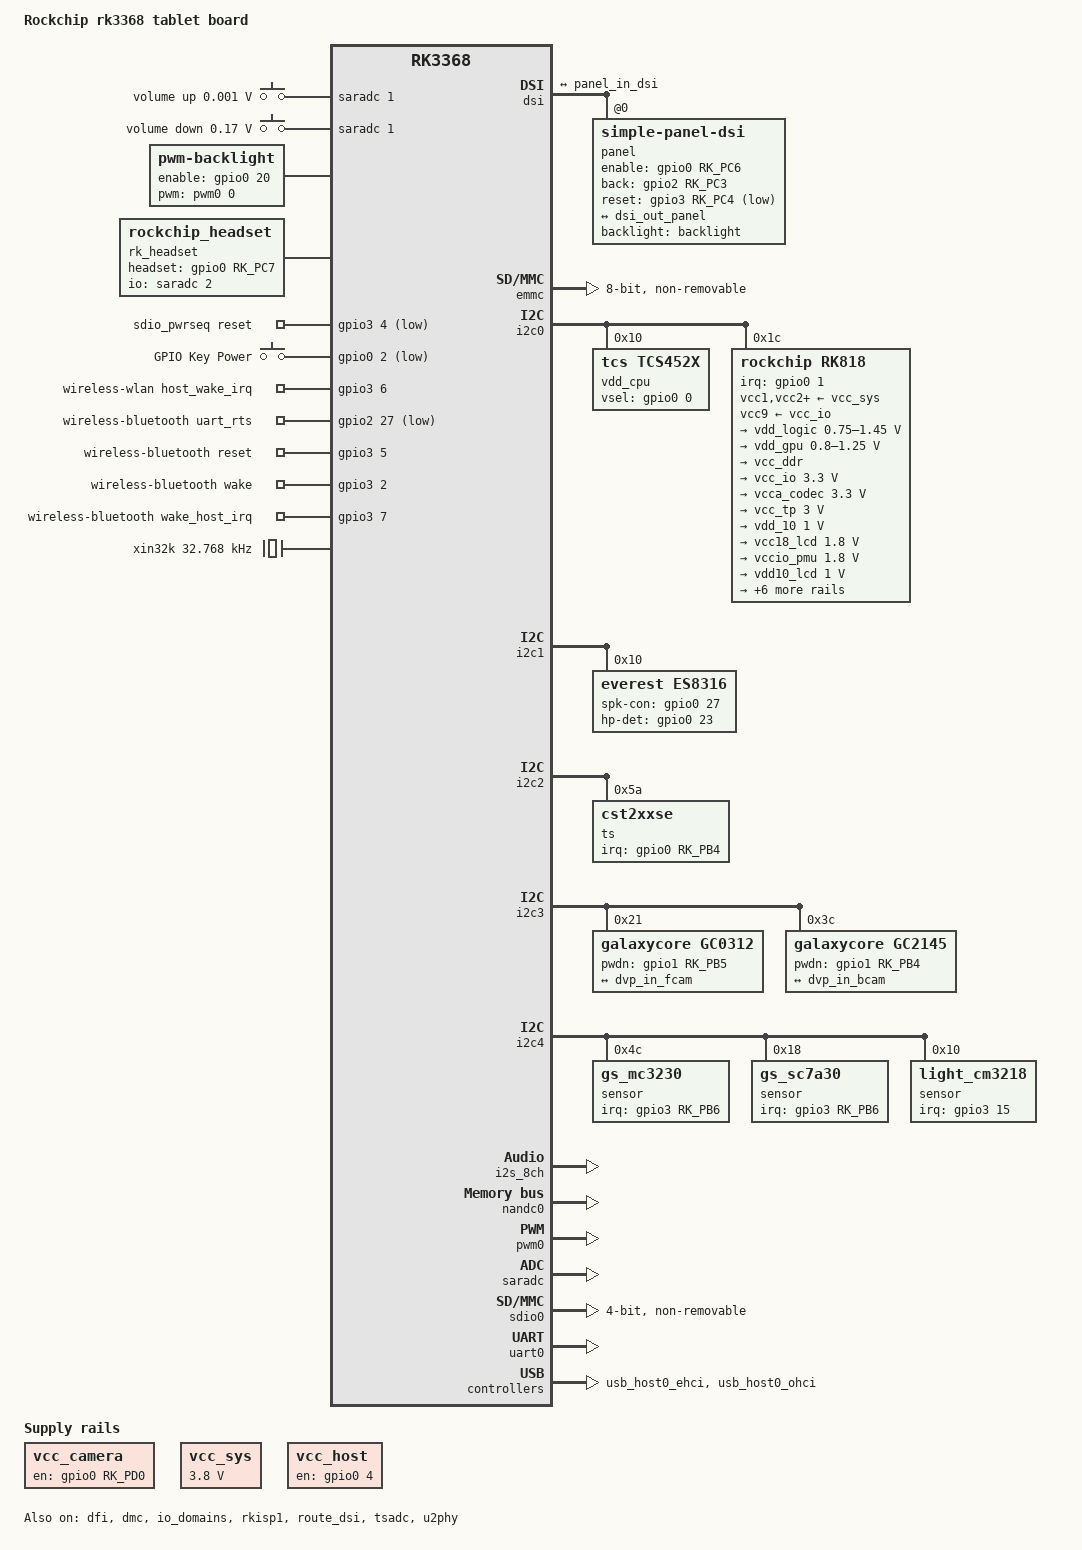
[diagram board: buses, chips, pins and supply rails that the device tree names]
// SPDX-License-Identifier: (GPL-2.0+ OR MIT)
/*
 * Copyright (c) 2019 Fuzhou Rockchip Electronics Co., Ltd
 */

/dts-v1/;
#include <dt-bindings/input/input.h>
#include <dt-bindings/pwm/pwm.h>
#include <dt-bindings/sensor-dev.h>
#include "rk3368.dtsi"
#include "rk3368-android.dtsi"
/ {
	model = "Rockchip rk3368 tablet board";
	compatible = "rockchip,tablet", "rockchip,rk3368";

	adc_keys: adc-keys {
		compatible = "adc-keys";
		io-channels = <&saradc 1>;
		io-channel-names = "buttons";
		keyup-threshold-microvolt = <1024000>;
		poll-interval = <100>;

		vol-up-key {
			label = "volume up";
			linux,code = <KEY_VOLUMEUP>;
			press-threshold-microvolt = <1000>;
		};

		vol-down-key {
			label = "volume down";
			linux,code = <KEY_VOLUMEDOWN>;
			press-threshold-microvolt = <170000>;
		};
	};

	vcc_camera: vcc-camera-regulator {
		compatible = "regulator-fixed";
		gpio = <&gpio0 RK_PD0 GPIO_ACTIVE_HIGH>;
		pinctrl-names = "default";
		pinctrl-0 = <&camera_pwr>;
		regulator-name = "vcc_camera";
		enable-active-high;
		regulator-always-on;
		regulator-boot-on;
	};

	backlight: backlight {
		compatible = "pwm-backlight";
		pwms = <&pwm0 0 25000 1>;
		brightness-levels = <
			 0   1   2   3   4   5   6   7
			 8   9  10  11  12  13  14  15
			16  16  16  16  16  16  16  16
			17  17  17  17  17  17  17  17
			18  18  18  18  18  18  18  18
			19  19  19  19  19  19  19  19
			20  20  20  20  20  20  20  20
			21  21  21  21  21  21  21  21
			22  22  22  22  22  22  22  22
			23  23  23  23	23  23  23  23
			24  24  24  24  24  24  24  24
			25  25  25  25  25  25  25  25
			26  26  26  26  26  26  26  26
			27  27  27  27  27  27  27  27
			28  28  28  28  28  28  28  28
			27  27  27  27  27  27  27  27
			30  30  30  30  30  30  30  30
			31  31  31  31  31  31  31  31
			32  32  32  32  32  32  32  32
			33  33  33  33  33  33  33  33
			34  34  34  34  34  34  34  34
			35  35  35  35  35  35  35  35
			36  36  36  36  36  36  36  36
			37  37  37  37  37  37  37  37
			38  38  38  38  38  38  38  38
			38  38  38  38  38  38  38  38
			38  38  38  38  38  38  38  38
			38  38  38  38  38  38  38  38
			38  38  38  38  38  38  38  38
			38  38  38  38  38  38  38  38
			38  38  38  38  38  38  38  38
			38  38  38  38  38  38  38  38>;
		default-brightness-level = <200>;
		enable-gpios = <&gpio0 20 GPIO_ACTIVE_HIGH>;
	};

	charge-animation {
		compatible = "rockchip,uboot-charge";
		rockchip,uboot-charge-on = <1>;
		rockchip,android-charge-on = <0>;
		rockchip,uboot-low-power-voltage = <3500>;
		rockchip,screen-on-voltage = <3600>;
		status = "okay";
	};

	chosen: chosen {
		bootargs = "earlycon=uart8250,mmio32,0xff690000 console=ttyFIQ0 androidboot.baseband=N/A androidboot.veritymode=enforcing androidboot.hardware=rk30board androidboot.console=ttyFIQ0 init=/init kpti=0";
	};

	es8316-sound {
		compatible = "simple-audio-card";
		simple-audio-card,format = "i2s";
		simple-audio-card,name = "rockchip,es8316-codec";
		simple-audio-card,mclk-fs = <256>;
		simple-audio-card,widgets =
			"Microphone", "Mic Jack",
			"Headphone", "Headphone Jack";
		simple-audio-card,routing =
			"Mic Jack", "MICBIAS1",
			"IN1P", "Mic Jack",
			"Headphone Jack", "HPOL",
			"Headphone Jack", "HPOR";
		simple-audio-card,cpu {
			sound-dai = <&i2s_8ch>;
			system-clock-frequency = <11289600>;
		};
		simple-audio-card,codec {
			sound-dai = <&es8316>;
			system-clock-frequency = <11289600>;
		};
	};

	rk_headset: rk-headset {
		compatible = "rockchip_headset";
		headset_gpio = <&gpio0 RK_PC7 GPIO_ACTIVE_HIGH>;
		pinctrl-names = "default";
		pinctrl-0 = <&hp_det>;
		io-channels = <&saradc 2>;
	};

	sdio_pwrseq: sdio-pwrseq {
		compatible = "mmc-pwrseq-simple";
		clocks = <&rk818 1>;
		clock-names = "ext_clock";
		pinctrl-names = "default";
		pinctrl-0 = <&wifi_enable_h>;

		/*
		 * On the module itself this is one of these (depending
		 * on the actual card populated):
		 * - SDIO_RESET_L_WL_REG_ON
		 * - PDN (power down when low)
		 */
		reset-gpios = <&gpio3 4 GPIO_ACTIVE_LOW>; /* GPIO3_A4 */
	};

	gpio_keys: gpio-keys {
		compatible = "gpio-keys";
		autorepeat;

		power {
			debounce-interval = <100>;
			gpios = <&gpio0 2 GPIO_ACTIVE_LOW>;
			label = "GPIO Key Power";
			linux,code = <KEY_POWER>;
			wakeup-source;
		};
	};

	wireless-wlan {
		compatible = "wlan-platdata";
		/* wifi_chip_type - wifi chip define
		* ap6210, ap6330, ap6335
		* rtl8188eu, rtl8723bs, rtl8723bu
		* esp8089
		*/
		wifi_chip_type = "ap6255";
		WIFI,host_wake_irq = <&gpio3 6 GPIO_ACTIVE_HIGH>;
		status = "okay";
	};

	wireless-bluetooth {
		compatible = "bluetooth-platdata";
		clocks = <&rk818 1>;
		clock-names = "ext_clock";
		uart_rts_gpios = <&gpio2 27 GPIO_ACTIVE_LOW>;
		pinctrl-names = "default","rts_gpio";
		pinctrl-0 = <&uart0_rts>;
		pinctrl-1 = <&uart0_rts_gpio>;

		//BT,power_gpio = <&gpio3 3 GPIO_ACTIVE_HIGH>;
		BT,reset_gpio = <&gpio3 5 GPIO_ACTIVE_HIGH>;
		BT,wake_gpio = <&gpio3 2 GPIO_ACTIVE_HIGH>;
		BT,wake_host_irq = <&gpio3 7 GPIO_ACTIVE_HIGH>;

		status = "okay";
	};

	vcc_sys: vcc-sys {
		compatible = "regulator-fixed";
		regulator-name = "vcc_sys";
		regulator-always-on;
		regulator-boot-on;
		regulator-min-microvolt = <3800000>;
		regulator-max-microvolt = <3800000>;
	};

	vcc_host: vcc-host {
		compatible = "regulator-fixed";
		enable-active-high;
		gpio = <&gpio0 4 GPIO_ACTIVE_HIGH>;
		pinctrl-names = "default";
		pinctrl-0 = <&host_vbus_drv>;
		regulator-name = "vcc_host";
		regulator-always-on;
	};

	xin32k: xin32k {
		compatible = "fixed-clock";
		clock-frequency = <32768>;
		clock-output-names = "xin32k";
		#clock-cells = <0>;
	};

};

&cif_clkout {
	/* cif_clkout */
	rockchip,pins = <1 RK_PB3 1 &pcfg_pull_none_4ma>;
};

&cpu_l0 {
	cpu-supply = <&vdd_cpu>;
};

&cpu_l1 {
	cpu-supply = <&vdd_cpu>;
};

&cpu_l2 {
	cpu-supply = <&vdd_cpu>;
};

&cpu_l3 {
	cpu-supply = <&vdd_cpu>;
};

&cpu_b0 {
	cpu-supply = <&vdd_cpu>;
};

&cpu_b1 {
	cpu-supply = <&vdd_cpu>;
};

&cpu_b2 {
	cpu-supply = <&vdd_cpu>;
};

&cpu_b3 {
	cpu-supply = <&vdd_cpu>;
};

&gpu {
	logic-supply = <&vdd_logic>;
};

&dfi {
	status = "okay";
};

&dmc {
	status = "okay";
	center-supply = <&vdd_logic>;
	devfreq-events = <&dfi>;
	upthreshold = <60>;
	downdifferential = <20>;
	system-status-freq = <
		/*system status		freq(KHz)*/
		SYS_STATUS_NORMAL	600000
		SYS_STATUS_REBOOT	600000
		SYS_STATUS_SUSPEND	240000
		SYS_STATUS_VIDEO_1080P	396000
		SYS_STATUS_VIDEO_4K	600000
		SYS_STATUS_PERFORMANCE	600000
		SYS_STATUS_BOOST	396000
		SYS_STATUS_DUALVIEW	600000
		SYS_STATUS_ISP		528000
	>;
	vop-bw-dmc-freq = <
	/* min_bw(MB/s) max_bw(MB/s) freq(KHz) */
		0       582      240000
		583     99999    396000
	>;
	auto-min-freq = <240000>;
	auto-freq-en = <1>;
};

&dsi {
	status = "okay";

	panel@0 {
		compatible = "simple-panel-dsi";
		reg = <0>;
		backlight = <&backlight>;
		enable-gpios = <&gpio0 RK_PC6 GPIO_ACTIVE_HIGH>;
		back-gpios = <&gpio2 RK_PC3 GPIO_ACTIVE_HIGH>;
		reset-gpios = <&gpio3 RK_PC4 GPIO_ACTIVE_LOW>;
		prepare-delay-ms = <8>;
		enable-delay-ms = <3>;
		reset-delay-ms = <50>;
		init-delay-ms = <20>;

		dsi,flags = <(MIPI_DSI_MODE_VIDEO | MIPI_DSI_MODE_VIDEO_BURST |
			      MIPI_DSI_MODE_LPM | MIPI_DSI_MODE_EOT_PACKET)>;
		dsi,format = <MIPI_DSI_FMT_RGB888>;
		dsi,lanes = <4>;
		width-mm = <153>;
		height-mm = <85>;
		panel-init-sequence = [
			05 1e 01 01
			15 00 02 80 47
			15 00 02 81 40
			15 00 02 82 04
			15 00 02 83 77
			15 00 02 84 0f
			15 00 02 85 70
			15 78 02 86 70
		];
		panel-exit-sequence = [
			05 00 01 28
			05 00 01 10
		];

		display-timings {
			native-mode = <&timing0>;

			timing0: timing0 {
				clock-frequency = <49500000>;
				hactive = <1024>;
				vactive = <600>;
				hback-porch = <120>;
				hfront-porch = <80>;
				vback-porch = <14>;
				vfront-porch = <14>;
				hsync-len = <40>;
				vsync-len = <4>;
				hsync-active = <0>;
				vsync-active = <0>;
				de-active = <0>;
				pixelclk-active = <0>;
			};
		};

		ports {
			#address-cells = <1>;
			#size-cells = <0>;

			port@0 {
				reg = <0>;
				panel_in_dsi: endpoint {
					remote-endpoint = <&dsi_out_panel>;
				};
			};
		};
	};

	ports {
		#address-cells = <1>;
		#size-cells = <0>;

		port@1 {
			reg = <1>;
			dsi_out_panel: endpoint {
				remote-endpoint = <&panel_in_dsi>;
			};
		};
	};
};

&emmc {
	bus-width = <8>;
	cap-mmc-highspeed;
	mmc-hs200-1_8v;
	supports-emmc;
	disable-wp;
	non-removable;
	num-slots = <1>;
	status = "okay";
};

&i2c0 {
	status = "okay";

		vdd_cpu: tcs4525@10 {
		compatible = "tcs,tcs452x";
		reg = <0x10>;
		regulator-compatible = "fan53555-reg";
		pinctrl-0 = <&vsel_gpio>;
		vsel-gpios = <&gpio0 0 GPIO_ACTIVE_HIGH>;
		regulator-name = "vdd_cpu";
		regulator-min-microvolt = <712500>;
		regulator-max-microvolt = <1390000>;
		regulator-ramp-delay = <2300>;
		fcs,suspend-voltage-selector = <1>;
		regulator-boot-on;
		regulator-always-on;
		regulator-state-mem {
			regulator-off-in-suspend;
		};
	};

	rk818: pmic@1c {
		compatible = "rockchip,rk818";
		status = "okay";
		reg = <0x1c>;
		clock-output-names = "rk818-clkout1", "wifibt_32kin";
		interrupt-parent = <&gpio0>;
		interrupts = <1 IRQ_TYPE_LEVEL_LOW>;
		pinctrl-names = "default";
		pinctrl-0 = <&pmic_int_l>;
		rockchip,system-power-controller;
		wakeup-source;
		extcon = <&u2phy>;
		#clock-cells = <1>;

		vcc1-supply = <&vcc_sys>;
		vcc2-supply = <&vcc_sys>;
		vcc3-supply = <&vcc_sys>;
		vcc4-supply = <&vcc_sys>;
		vcc6-supply = <&vcc_sys>;
		vcc7-supply = <&vcc_sys>;
		vcc8-supply = <&vcc_sys>;
		vcc9-supply = <&vcc_io>;

		regulators {
			vdd_logic: DCDC_REG1 {
				regulator-name = "vdd_logic";
				regulator-always-on;
				regulator-boot-on;
				regulator-min-microvolt = <750000>;
				regulator-max-microvolt = <1450000>;
				regulator-ramp-delay = <6001>;
				regulator-state-mem {
					regulator-on-in-suspend;
					regulator-suspend-microvolt = <1000000>;
				};
			};

			vdd_gpu: DCDC_REG2 {
				regulator-name = "vdd_gpu";
				regulator-always-on;
				regulator-boot-on;
				regulator-min-microvolt = <800000>;
				regulator-max-microvolt = <1250000>;
				regulator-ramp-delay = <6001>;
				regulator-state-mem {
					regulator-on-in-suspend;
					regulator-suspend-microvolt = <1000000>;
				};
			};

			vcc_ddr: DCDC_REG3 {
				regulator-always-on;
				regulator-boot-on;
				regulator-name = "vcc_ddr";
				regulator-state-mem {
					regulator-on-in-suspend;
				};
			};

			vcc_io: DCDC_REG4 {
				regulator-always-on;
				regulator-boot-on;
				regulator-min-microvolt = <3300000>;
				regulator-max-microvolt = <3300000>;
				regulator-name = "vcc_io";
				regulator-state-mem {
					regulator-on-in-suspend;
					regulator-suspend-microvolt = <3300000>;
				};
			};

			vcca_codec: LDO_REG1 {
				regulator-always-on;
				regulator-boot-on;
				regulator-min-microvolt = <3300000>;
				regulator-max-microvolt = <3300000>;
				regulator-name = "vcca_codec";
				regulator-state-mem {
					regulator-on-in-suspend;
					regulator-suspend-microvolt = <3300000>;
				};
			};

			vcc_tp: LDO_REG2 {
				regulator-boot-on;
				regulator-min-microvolt = <3000000>;
				regulator-max-microvolt = <3000000>;
				regulator-name = "vcc_tp";
				regulator-state-mem {
					regulator-off-in-suspend;
				};
			};

			vdd_10: LDO_REG3 {
				regulator-always-on;
				regulator-boot-on;
				regulator-min-microvolt = <1000000>;
				regulator-max-microvolt = <1000000>;
				regulator-name = "vdd_10";
				regulator-state-mem {
					regulator-on-in-suspend;
					regulator-suspend-microvolt = <1000000>;
				};
			};

			vcc18_lcd: LDO_REG4 {
				regulator-always-on;
				regulator-boot-on;
				regulator-min-microvolt = <1800000>;
				regulator-max-microvolt = <1800000>;
				regulator-name = "vcc18_lcd";
				regulator-state-mem {
					regulator-on-in-suspend;
					regulator-suspend-microvolt = <1800000>;
				};
			};

			vccio_pmu: LDO_REG5 {
				regulator-always-on;
				regulator-boot-on;
				regulator-min-microvolt = <1800000>;
				regulator-max-microvolt = <1800000>;
				regulator-name = "vccio_pmu";
				regulator-state-mem {
					regulator-on-in-suspend;
					regulator-suspend-microvolt = <1800000>;
				};
			};

			vdd10_lcd: LDO_REG6 {
				regulator-always-on;
				regulator-boot-on;
				regulator-min-microvolt = <1000000>;
				regulator-max-microvolt = <1000000>;
				regulator-name = "vdd10_lcd";
				regulator-state-mem {
					regulator-on-in-suspend;
					regulator-suspend-microvolt = <1000000>;
				};
			};

			vcc_18: LDO_REG7 {
				regulator-always-on;
				regulator-boot-on;
				regulator-min-microvolt = <1800000>;
				regulator-max-microvolt = <1800000>;
				regulator-name = "vcc_18";
				regulator-state-mem {
					regulator-on-in-suspend;
					regulator-suspend-microvolt = <1800000>;
				};
			};

			vccio_wl: LDO_REG8 {
				regulator-always-on;
				regulator-boot-on;
				regulator-min-microvolt = <1800000>;
				regulator-max-microvolt = <1800000>;
				regulator-name = "vccio_wl";
				regulator-state-mem {
					regulator-on-in-suspend;
					regulator-suspend-microvolt = <1800000>;
				};
			};

			vccio_sd: LDO_REG9 {
				regulator-always-on;
				regulator-boot-on;
				regulator-min-microvolt = <1800000>;
				regulator-max-microvolt = <3300000>;
				regulator-name = "vccio_sd";
				regulator-state-mem {
					regulator-on-in-suspend;
					regulator-suspend-microvolt = <3300000>;
				};
			};

			vcc_sd: SWITCH_REG {
				regulator-always-on;
				regulator-boot-on;
				regulator-name = "vcc_sd";
				regulator-state-mem {
					regulator-on-in-suspend;
				};
			};

			boost_otg: DCDC_BOOST {
				regulator-name = "boost_otg";
				regulator-always-on;
				regulator-boot-on;
				regulator-min-microvolt = <5000000>;
				regulator-max-microvolt = <5000000>;
				regulator-state-mem {
					regulator-on-in-suspend;
					regulator-suspend-microvolt = <5000000>;
				};
			};

			otg_switch: OTG_SWITCH {
				regulator-name = "otg_switch";
			};
		};

		battery {
			compatible = "rk818-battery";
			pinctrl-names = "default";
			pinctrl-0 = <&dc_irq_gpio>;
			ocv_table = <
				3400 3652 3680 3707 3730 3747 3764
				3772 3781 3792 3807 3828 3861 3899
				3929 3958 3987 4038 4079 4127 4186>;
			design_capacity = <7536>;
			design_qmax = <8290>;
			bat_res = <100>;
			max_input_current = <1750>;
			max_chrg_current = <2000>;
			max_chrg_voltage = <4200>;
			sleep_enter_current = <600>;
			sleep_exit_current = <600>;
			power_off_thresd = <3400>;
			zero_algorithm_vol = <3850>;
			fb_temperature = <115>;
			sample_res = <20>;
			max_soc_offset = <60>;
			energy_mode = <0>;
			monitor_sec = <5>;
			virtual_power = <0>;
			power_dc2otg = <0>;
			support_usb_adp = <1>;
			support_dc_adp = <1>;
			dc_det_gpio = <&gpio0 17 GPIO_ACTIVE_LOW>;
		};
	};
};

&i2c1 {
	status = "okay";

	es8316: es8316@10 {
		status = "okay";
		#sound-dai-cells = <0>;
		compatible = "everest,es8316";
		reg = <0x10>;
		clocks = <&cru SCLK_I2S_8CH_OUT>;
		clock-names = "mclk";
		spk-con-gpio = <&gpio0 27 GPIO_ACTIVE_HIGH>;
		hp-det-gpio = <&gpio0 23 GPIO_ACTIVE_HIGH>;
		pinctrl-names = "default";
		pinctrl-0 = <&i2s_8ch_mclk>;
		extcon = <&rk_headset>;
	};
};

&i2c2 {
	status = "okay";

	ts@5a {
		compatible = "cst2xxse";
		reg = <0x5a>;
		irq-gpio = <&gpio0 RK_PB4 IRQ_TYPE_LEVEL_LOW>;
		//touch-gpio = <&gpio1 GPIO_B0 IRQ_TYPE_LEVEL_LOW>;       /* TP_INT == GPIO1_B0 */
		//reset-gpio = <&gpio0 GPIO_D1 GPIO_ACTIVE_LOW>;          /* TP_RST == GPIO0_D1 */
		//power-gpio = <&gpio0 GPIO_C5 GPIO_ACTIVE_LOW>;
		//max-x = <800>;
		//max-y = <480>;
		status = "okay";
	};

};

&i2c3 {
	status = "okay";

	gc0312: gc0312@21 {
		status = "okay";
		compatible = "galaxycore,gc0312";
		reg = <0x21>;
		clocks = <&cru SCLK_VIP_OUT>;
		clock-names = "xvclk";
		pwdn-gpios = <&gpio1 RK_PB5 GPIO_ACTIVE_HIGH>;

		rockchip,camera-module-index = <1>;
		rockchip,camera-module-facing = "front";
		rockchip,camera-module-name = "CameraKing";
		rockchip,camera-module-lens-name = "Largan";
		port {
			gc0312_out: endpoint {
				remote-endpoint = <&dvp_in_fcam>;
			};
		};
	};

	gc2145: gc2145@3c {
		status = "okay";
		compatible = "galaxycore,gc2145";
		reg = <0x3c>;
		clocks = <&cru SCLK_VIP_OUT>;
		clock-names = "xvclk";
		pwdn-gpios = <&gpio1 RK_PB4 GPIO_ACTIVE_HIGH>;
		rockchip,camera-module-index = <0>;
		rockchip,camera-module-facing = "back";
		rockchip,camera-module-name = "CameraKing";
		rockchip,camera-module-lens-name = "Largan";
		port {
			gc2145_out: endpoint {
				remote-endpoint = <&dvp_in_bcam>;
			};
		};
	};

	ov8858: ov8858@36 {
		status = "disabled";
		compatible = "ovti,ov8858";
		reg = <0x36>;
		clocks = <&cru SCLK_VIP_OUT>;
		clock-names = "xvclk";

		rockchip,camera-module-index = <0>;
		rockchip,camera-module-facing = "back";
		rockchip,camera-module-name = "CameraKing";
		rockchip,camera-module-lens-name = "Largan-9569A2";
		power-gpio = <&gpio0 RK_PD4 GPIO_ACTIVE_HIGH>;
		pwdn-gpios = <&gpio1 RK_PB5 GPIO_ACTIVE_HIGH>;

		port {
			ov8858_out: endpoint {
				remote-endpoint = <&mipi_in>;
				data-lanes = <1 2>;
			};
		};
	};
};

&i2c4 {
	status = "okay";

	mpu6500@68 {
		status = "disabled";
		compatible = "invensense,mpu6500";
		pinctrl-names = "default";
		pinctrl-0 = <&mpu6500_irq_gpio>;
		reg = <0x68>;
		irq-gpio = <&gpio3 14 IRQ_TYPE_EDGE_RISING>;
		mpu-int_config = <0x10>;
		mpu-level_shifter = <0>;
		mpu-orientation = <1 0 0 0 1 0 0 0 1>;
		orientation-x= <1>;
		orientation-y= <0>;
		orientation-z= <1>;
		support-hw-poweroff = <1>;
		mpu-debug = <1>;
	};

	sensor@4c {
		status = "okay";
		compatible = "gs_mc3230";
		reg = <0x4c>;
		type = <SENSOR_TYPE_ACCEL>;
		irq_enable = <0>;
		poll_delay_ms = <30>;
		layout = <9>;
		reprobe_en = <1>;
		irq-gpio = <&gpio3 RK_PB6 IRQ_TYPE_LEVEL_LOW>;
	};

	sensor@18 {
		status = "okay";
		compatible = "gs_sc7a30";
		reg = <0x18>;
		type = <SENSOR_TYPE_ACCEL>;
		irq-gpio = <&gpio3 RK_PB6 IRQ_TYPE_LEVEL_LOW>;
		irq_enable = <0>;
		poll_delay_ms = <30>;
		layout = <6>;
		reprobe_en = <1>;
	};

	sensor@10 {
		status = "okay";
		compatible = "light_cm3218";
		pinctrl-names = "default";
		pinctrl-0 = <&cm3218_irq_gpio>;
		reg = <0x10>;
		type = <SENSOR_TYPE_LIGHT>;
		irq-gpio = <&gpio3 15 IRQ_TYPE_EDGE_FALLING>;
		irq_enable = <1>;
		poll_delay_ms = <30>;
	};
};

&i2s_8ch {
	status = "okay";
	rockchip,i2s-broken-burst-len;
	rockchip,playback-channels = <8>;
	rockchip,capture-channels = <2>;
	#sound-dai-cells = <0>;
};

&io_domains {
	status = "okay";

	dvp-supply = <&vcc_18>;
	audio-supply = <&vcc_io>;
	gpio30-supply = <&vcc_io>;
	gpio1830-supply = <&vcc_io>;
	sdcard-supply = <&vccio_sd>;
	wifi-supply = <&vccio_wl>;
};

&isp_dvp_d2d9 {
	rockchip,pins =
			/* cif_data4 ... cif_data9 */
			<1 RK_PA2 1 &pcfg_pull_down>,
			<1 RK_PA3 1 &pcfg_pull_down>,
			<1 RK_PA4 1 &pcfg_pull_down>,
			<1 RK_PA5 1 &pcfg_pull_down>,
			<1 RK_PA6 1 &pcfg_pull_down>,
			<1 RK_PA7 1 &pcfg_pull_down>,
			/* cif_sync, cif_href */
			<1 RK_PB0 1 &pcfg_pull_down>,
			<1 RK_PB1 1 &pcfg_pull_down>,
			/* cif_clkin */
			<1 RK_PB2 1 &pcfg_pull_down>;
};

&isp_dvp_d10d11 {
	rockchip,pins =
			/* cif_data10, cif_data11 */
			<1 RK_PB6 1 &pcfg_pull_down>,
			<1 RK_PB7 1 &pcfg_pull_down>;
};

&isp_mmu {
	status = "okay";
};

&mipi_dphy_rx0 {
	status = "disabled";

	ports {
		#address-cells = <1>;
		#size-cells = <0>;

		port@0 {
			reg = <0>;
			#address-cells = <1>;
			#size-cells = <0>;

			mipi_in: endpoint@1 {
				reg = <1>;
				remote-endpoint = <&ov8858_out>;
				data-lanes = <1 2>;
			};
		};

		port@1 {
			reg = <1>;
			#address-cells = <1>;
			#size-cells = <0>;

			dphy_rx_out: endpoint@0 {
				reg = <0>;
				remote-endpoint = <&isp_mipi_in>;
			};
		};
	};
};

&nandc0 {
	status = "okay";
};

&pmu_io_domains {
	status = "okay";

	pmu-supply = <&vccio_pmu>;
	vop-supply = <&vccio_pmu>;
};

&pwm0 {
	status = "okay";
};

&pinctrl {
	camera {
		camera_pwr: camera-pwr {
			rockchip,pins = <0 RK_PD0 RK_FUNC_GPIO &pcfg_pull_none>;
		};
	};

	headphone {
		hp_det: hp-det {
			rockchip,pins = <0 RK_PC7 RK_FUNC_GPIO &pcfg_pull_up>;
		};
	};

	pmic {
		pmic_int_l: pmic-int-l {
			rockchip,pins = <0 RK_PA1 RK_FUNC_GPIO &pcfg_pull_up>;
		};
		vsel_gpio: vsel-gpio {
			rockchip,pins = <0 RK_PA0 RK_FUNC_GPIO &pcfg_pull_down>;
		};
	};

	mpu6500 {
		mpu6500_irq_gpio: mpu6500-irq-gpio {
			rockchip,pins = <3 RK_PB6 RK_FUNC_GPIO &pcfg_pull_none>;
		};
	};

	cm3218 {
		cm3218_irq_gpio: cm3218-irq-gpio {
			rockchip,pins = <3 RK_PB7 RK_FUNC_GPIO &pcfg_pull_up>;
		};
	};

	dc_det {
		dc_irq_gpio: dc-irq-gpio {
			rockchip,pins = <0 RK_PC1 RK_FUNC_GPIO &pcfg_pull_up>;
		};
	};

	pcfg_pull_none_4ma: pcfg-pull-none-4ma {
		bias-disable;
		drive-strength = <4>;
	};

	sdio-pwrseq {
		wifi_enable_h: wifi-enable-h {
			rockchip,pins = <3 RK_PA4 RK_FUNC_GPIO &pcfg_pull_none>;
		};
	};

	usb2 {
		host_vbus_drv: host-vbus-drv {
			rockchip,pins = <0 RK_PA4 RK_FUNC_GPIO &pcfg_pull_none>;
		};
	};

	wireless-bluetooth {
		uart0_rts_gpio: uart0-rts-gpio {
			rockchip,pins = <2 RK_PD3 RK_FUNC_GPIO &pcfg_pull_none>;
		};
	};
};

&rkisp1 {
	status = "okay";
	pinctrl-names = "default";
	pinctrl-0 = <&isp_dvp_d2d9 &isp_dvp_d10d11 &cif_clkout>;
	port {
		#address-cells = <1>;
		#size-cells = <0>;

		dvp_in_fcam: endpoint@0 {
			reg = <0>;
			remote-endpoint = <&gc0312_out>;
		};

		dvp_in_bcam: endpoint@1 {
			reg = <1>;
			remote-endpoint = <&gc2145_out>;
		};

		isp_mipi_in: endpoint@2 {
			reg = <2>;
			remote-endpoint = <&dphy_rx_out>;
		};
	};
};

&route_dsi {
	status = "okay";
};

&rockchip_suspend {
	status = "okay";
	rockchip,sleep-mode-config = <
		(0
		| RKPM_SLP_ARMOFF
		| RKPM_SLP_PMU_PLLS_PWRDN
		| RKPM_SLP_PMU_PMUALIVE_32K
		| RKPM_SLP_SFT_PLLS_DEEP
		| RKPM_SLP_PMU_DIS_OSC
		| RKPM_SLP_SFT_PD_NBSCUS
		)
	>;
	rockchip,wakeup-config = <
		(0
		| RKPM_GPIO_WKUP_EN
		| RKPM_USB_WKUP_EN
		| RKPM_CLUSTER_L_WKUP_EN
		)
	>;
};

&saradc {
	status = "okay";
};

&sdmmc {
	clock-frequency = <37500000>;
	clock-freq-min-max = <400000 37500000>;
	supports-sd;
	cap-mmc-highspeed;
	cap-sd-highspeed;
	card-detect-delay = <200>;
	disable-wp;
	num-slots = <1>;
	pinctrl-names = "default";
	pinctrl-0 = <&sdmmc_clk &sdmmc_cmd &sdmmc_cd &sdmmc_bus4>;
	status = "disabled";
};

&sdio0 {
	max-frequency = <100000000>;
	supports-sdio;
	bus-width = <4>;
	disable-wp;
	cap-sd-highspeed;
	cap-sdio-irq;
	keep-power-in-suspend;
	mmc-pwrseq = <&sdio_pwrseq>;
	non-removable;
	num-slots = <1>;
	pinctrl-names = "default";
	pinctrl-0 = <&sdio0_bus4 &sdio0_cmd &sdio0_clk>;
	rockchip,default-sample-phase = <90>;
	sd-uhs-sdr104;
	status = "okay";
};

&tsadc {
	tsadc-supply = <&vdd_cpu>;
	status = "okay";
};

&uart0 {
	pinctrl-names = "default";
	pinctrl-0 = <&uart0_xfer &uart0_cts>;
	status = "okay";
};

&u2phy {
	status = "okay";

	u2phy_otg: otg-port {
		status = "okay";
	};

	u2phy_host: host-port {
		phy-supply = <&vcc_host>;
		status = "okay";
	};
};

&usb_host0_ehci {
	status = "okay";
};

&usb_host0_ohci {
	status = "okay";
};

